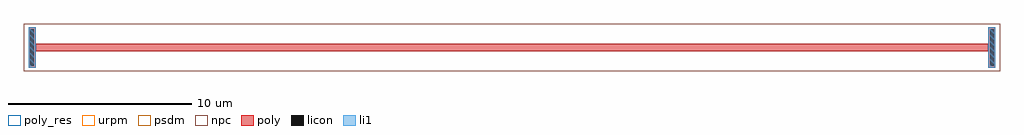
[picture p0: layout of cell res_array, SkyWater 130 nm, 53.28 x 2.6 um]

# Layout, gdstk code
import gdstk
lib = gdstk.Library(unit=1e-6, precision=1e-09)
def R(c, l, rs):  # rectangles x0, y0, x1, y1
    for r in rs: c.add(gdstk.rectangle(r[:2], r[2:], *l))
poly_res = (66, 13)
poly = (66, 20)
licon = (66, 44)
li1 = (67, 20)
urpm = (79, 20)
psdm = (94, 20)
npc = (95, 20)

res_array = lib.new_cell('res_array')
R(res_array, poly_res, [(0.39,0,52.39,0.42)])
R(res_array, poly, [(0,-0.89,0.39,1.31), (52.39,-0.89,52.78,1.31), (0,0,52.78,0.42)])
R(res_array, licon, [(0.1,-0.79,0.29,1.21), (52.49,-0.79,52.68,1.21)])
R(res_array, li1, [(0,-0.89,0.39,1.31), (52.39,-0.89,52.78,1.31)])
R(res_array, urpm, [(-0.25,-1.09,53.03,1.51)])
R(res_array, psdm, [(-0.25,-1.09,53.03,1.51)])
R(res_array, npc, [(-0.25,-1.09,53.03,1.51)])

lib.write_gds('res_array.gds')
